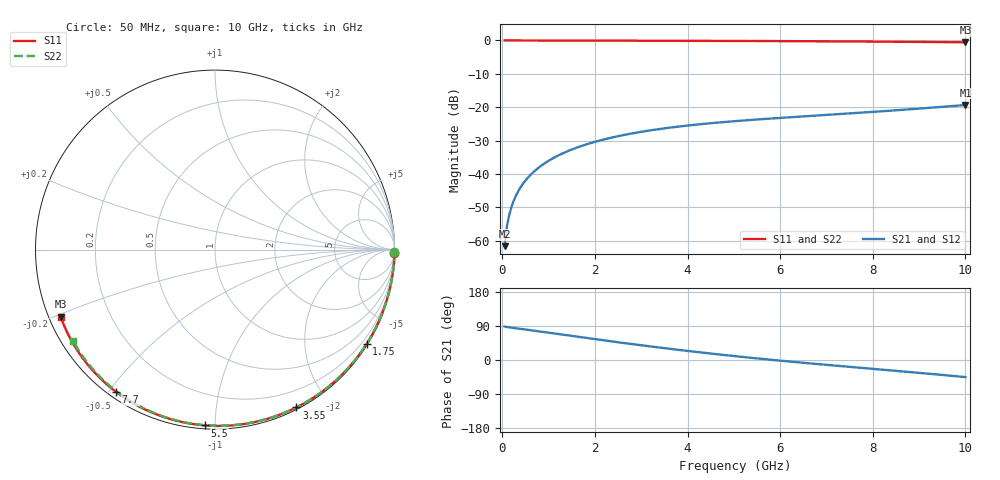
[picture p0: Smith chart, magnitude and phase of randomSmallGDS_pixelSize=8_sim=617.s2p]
! freq	dB(S11)	phase(S11)	dB(S12)	phase(S12)
!  dB(S21)	phase(S21)	dB(S22)	phase(S22)
!S-par simulation data
#  GHz  S  DB  R 50
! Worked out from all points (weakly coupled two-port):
!   200 points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, 50 MHz to 10 GHz, reference 50 ohm
!   highest |S21| = -19.33 dB at 10 GHz (marker M1); lowest = -61.6 dB at 50 MHz (marker M2)
!   lowest |S11| = -0.6 dB at 10 GHz (marker M3), VSWR 31.27, Z = 1.67 - j10.4 ohm
!   |S11| at or under -10 dB: nowhere
!   |S22| runs from -0.5 to 0.0 dB; largest |S21 - S12| = 0
!   S11 on the Smith chart (normalised r, x): 50 MHz: open; 1.75 GHz: 0.03, -3.50; 3.55 GHz: 0.02, -1.64; 5.5 GHz: 0.02, -0.94; 7.7 GHz: 0.02, -0.52; 10 GHz: 0.03, -0.21
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0.05  -0.00 -0.9  -61.59 88.3  -61.59 88.3  -0.00 -0.9
0.1  -0.00 -1.9  -55.67 87.0  -55.67 87.0  -0.00 -1.7
0.15  -0.00 -2.8  -52.22 86.1  -52.22 86.1  -0.00 -2.6
0.2  -0.00 -3.7  -49.78 85.3  -49.78 85.3  -0.00 -3.5
0.25  -0.00 -4.6  -47.87 84.5  -47.87 84.5  -0.00 -4.3
0.35  -0.00 -6.5  -45.00 82.9  -45.00 82.9  -0.00 -6.1
0.5  -0.01 -9.2  -41.94 80.5  -41.94 80.5  -0.01 -8.6
0.7  -0.01 -12.9  -39.06 77.1  -39.06 77.1  -0.01 -12.1
1  -0.02 -18.4  -36.03 71.9  -36.03 71.9  -0.02 -17.2
1.35  -0.03 -24.7  -33.52 65.9  -33.52 65.9  -0.03 -23.1
1.75  -0.04 -31.9  -31.41 59.1  -31.41 59.1  -0.04 -29.8
2.5  -0.06 -45.0  -28.66 46.7  -28.66 46.7  -0.06 -42.1
3.4  -0.09 -60.2  -26.50 32.7  -26.50 32.7  -0.08 -56.4
3.55  -0.09 -62.7  -26.22 30.5  -26.22 30.5  -0.09 -58.7
4.3  -0.12 -74.8  -25.04 19.8  -25.04 19.8  -0.11 -70.1
5.05  -0.15 -86.5  -24.13 9.8  -24.13 9.8  -0.14 -81.2
5.5  -0.17 -93.3  -23.66 4.2  -23.66 4.2  -0.16 -87.6
6.7  -0.23 -110.7  -22.57 -9.6  -22.57 -9.6  -0.22 -104.1
7.7  -0.30 -124.7  -21.68 -20.2  -21.68 -20.2  -0.29 -117.4
8.35  -0.36 -133.7  -21.06 -27.0  -21.06 -27.0  -0.35 -125.8
9.2  -0.45 -145.4  -20.19 -36.1  -20.19 -36.1  -0.43 -136.7
10  -0.56 -156.5  -19.33 -45.1  -19.33 -45.1  -0.53 -147.0
